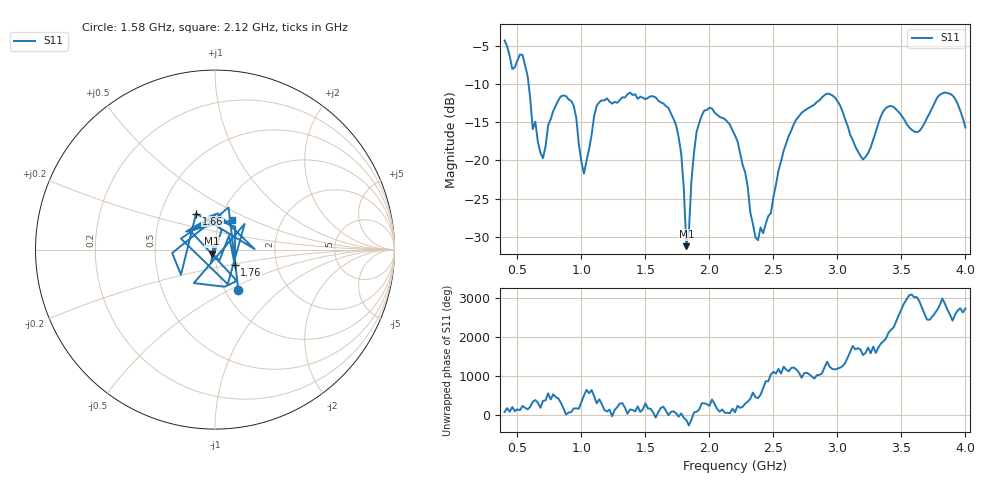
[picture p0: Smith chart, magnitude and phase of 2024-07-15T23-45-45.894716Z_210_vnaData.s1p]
!Created with skrf (http://scikit-rf.org).
# Hz S RI R 50.0
!freq ReS11 ImS11
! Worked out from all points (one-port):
!   181 points, 400 MHz to 4 GHz, reference 50 ohm
!   lowest |S11| = -31.2 dB at 1.82 GHz (marker M1), VSWR 1.06, Z = 48.4 - j2.22 ohm
!   |S11| at or under -10 dB: 587.1 MHz to end of sweep
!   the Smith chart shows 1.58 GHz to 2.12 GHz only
!   S11 on the Smith chart (normalised r, x): 1.58 GHz: 1.16, -0.55; 1.66 GHz: 0.75, +0.32; 1.76 GHz: 1.23, -0.22; 2.12 GHz: 1.13, +0.38
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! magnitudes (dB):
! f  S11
! 400 MHz  -4.3
! 460 MHz  -8.1
! 540 MHz  -6.2
! 620 MHz  -15.9
! 700 MHz  -19.7
! 860 MHz  -11.5
! 940 MHz  -12.9
! 1.02 GHz  -21.7
! 1.12 GHz  -12.8
! 1.3 GHz  -12.1
! 1.58 GHz  -11.8
! 1.66 GHz  -12.9
! 1.76 GHz  -17.0
! 1.8 GHz  -23.7
! 1.82 GHz  -31.2
! 1.88 GHz  -18.9
! 1.92 GHz  -15.1
! 2.12 GHz  -14.6
! 2.2 GHz  -16.7
! 2.38 GHz  -30.4
! 2.66 GHz  -15.2
! 2.92 GHz  -11.3
! 3.1 GHz  -16.7
! 3.2 GHz  -19.9
! 3.38 GHz  -13.1
! 3.56 GHz  -15.7
! 3.84 GHz  -11.1
! 4 GHz  -15.7
